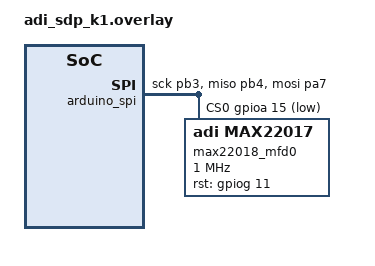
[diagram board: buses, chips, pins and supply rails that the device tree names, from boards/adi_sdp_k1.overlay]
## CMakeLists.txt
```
# SPDX-License-Identifier: Apache-2.0

cmake_minimum_required(VERSION 3.28.0)

find_package(Zephyr REQUIRED HINTS $ENV{ZEPHYR_BASE})
project(DAC)

target_sources(app PRIVATE src/main.c)
```

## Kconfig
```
# Private config options for dac sample

# Copyright (c) 2025 NXP
# Copyright (c) 2025 Renesas Electronics Corporation
# SPDX-License-Identifier: Apache-2.0

mainmenu "DAC sample application"

source "Kconfig.zephyr"

ZEPHYR_USER := zephyr,user

config DAC_SAMPLE_RUN
	bool "Run DAC sample application"
	default y if $(dt_node_has_prop,/$(ZEPHYR_USER),dac)
	help
	  platform supports dac sample

config DAC_BUFFER_NOT_SUPPORT
	bool "DAC on board/SoC does not support output buffer mode"
	help
	  If this config is turned on, the sample will run with no output buffer enabled
```

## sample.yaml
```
sample:
  name: DAC driver sample
common:
  tags: DAC
  harness: console
  harness_config:
    type: one_line
    regex:
      - Generating sawtooth signal at DAC channel ([0-9]*).
tests:
  sample.drivers.dac:
    depends_on: dac
    filter: CONFIG_DAC_SAMPLE_RUN and not dt_alias_exists("second_uart")
    integration_platforms:
      - nucleo_l152re
  sample.drivers.dac.shields:
    platform_allow:
      - adafruit_feather_rp2040/rp2040
      - adafruit_feather_adalogger_rp2040/rp2040
    extra_args:
      - platform:adafruit_feather_rp2040/rp2040:SHIELD="adafruit_ad5693r"
      - platform:adafruit_feather_adalogger_rp2040/rp2040:SHIELD="adafruit_mcp4728"
  samples.dac.sec_uart:
    tags: DAC
    depends_on: dac
    filter: CONFIG_DAC_SAMPLE_RUN and dt_alias_exists("second_uart")
    integration_platforms:
      - frdm_mcxa266
      - frdm_mcxa346
      - frdm_mcxa366
```

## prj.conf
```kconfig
CONFIG_DAC=y
```

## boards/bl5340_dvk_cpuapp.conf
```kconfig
#
# Copyright (c) 2021 Laird Connectivity
#
# SPDX-License-Identifier: Apache-2.0
#
CONFIG_I2C=y
CONFIG_DAC_MCP4725=y
```

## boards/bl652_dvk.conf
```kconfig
#
# Copyright (c) 2021 Laird Connectivity
#
# SPDX-License-Identifier: Apache-2.0
#
CONFIG_DAC_MCP4725=y
```

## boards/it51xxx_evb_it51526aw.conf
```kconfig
# Copyright (c) 2026 ITE Corporation. All Rights Reserved.
# SPDX-License-Identifier: Apache-2.0

CONFIG_DAC_BUFFER_NOT_SUPPORT=y
```

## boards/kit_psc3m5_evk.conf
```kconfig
# SPDX-FileCopyrightText: Copyright (c) 2026 Infineon Technologies AG,
# SPDX-FileCopyrightText: or an affiliate of Infineon Technologies AG. All rights reserved.
#
# SPDX-License-Identifier: Apache-2.0

# The CSG slice DAC only supports direct-write mode.
CONFIG_DAC_BUFFER_NOT_SUPPORT=y
```

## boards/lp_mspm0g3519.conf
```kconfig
CONFIG_DAC_SAMPLE_SLEEP_MS=0
```

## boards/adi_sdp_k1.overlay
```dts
/ {
	zephyr,user {
		dac = <&max22017_dac0>;
		dac-channel-id = <0>;
		dac-resolution = <16>;
	};
};

&arduino_spi {
	status = "okay";
	pinctrl-names = "default";
	pinctrl-0 = <&spi1_sck_pb3 &spi1_miso_pb4 &spi1_mosi_pa7>;
	cs-gpios = <&gpioa 15 (GPIO_ACTIVE_LOW | GPIO_PULL_UP)>;

	max22018_mfd0: max22017_mfd@0 {
		compatible = "adi,max22017";
		spi-max-frequency = <1000000>;
		reg = <0>;
		rst-gpios = <&gpiog 11 GPIO_ACTIVE_HIGH>;
		crc-mode;
		status = "okay";

		max22017_dac0: max22017-dac {
			compatible = "adi,max22017-dac";
			#io-channel-cells = <2>;
			status = "okay";
		};
	};
};
```

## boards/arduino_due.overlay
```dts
/*
 * SPDX-FileCopyrightText: Copyright The Zephyr Project Contributors
 * SPDX-License-Identifier: Apache-2.0
 */

/ {
	zephyr,user {
		dac = <&dacc>;
		dac-channel-id = <0>;
		dac-resolution = <12>;
	};
};
```

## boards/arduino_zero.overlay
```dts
/ {
	zephyr,user {
		dac = <&dac0>;
		dac-channel-id = <0>;
		dac-resolution = <10>;
	};
};
```

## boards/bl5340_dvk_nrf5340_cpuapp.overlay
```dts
/ {
	zephyr,user {
		dac = <&dac0>;
		dac-channel-id = <0>;
		dac-resolution = <12>;
	};
};
```

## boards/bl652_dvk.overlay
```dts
/*
 * Copyright 2021 Laird Connectivity
 *
 * SPDX-License-Identifier: Apache-2.0
 */

&i2c0 {
	dac0: mcp4725@60 {
		compatible = "microchip,mcp4725";
		reg = <0x60>;
		label = "MCP4725";
		#io-channel-cells = <1>;
	};
};
```

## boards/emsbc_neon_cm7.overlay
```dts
/*
 * Copyright (c) 2026 emtrion GmbH
 *
 * SPDX-License-Identifier: Apache-2.0
 */

/ {
	zephyr,user {
		dac = <&dac1>;
		dac-channel-id = <1>;
		dac-resolution = <12>;
	};
};
```

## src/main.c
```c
/*
 * Copyright (c) 2020 Libre Solar Technologies GmbH
 *
 * SPDX-License-Identifier: Apache-2.0
 */

#include <zephyr/kernel.h>
#include <zephyr/sys/printk.h>
#include <zephyr/drivers/dac.h>

#define ZEPHYR_USER_NODE DT_PATH(zephyr_user)

#if (DT_NODE_HAS_PROP(ZEPHYR_USER_NODE, dac) && \
	DT_NODE_HAS_PROP(ZEPHYR_USER_NODE, dac_channel_id) && \
	DT_NODE_HAS_PROP(ZEPHYR_USER_NODE, dac_resolution))
#define DAC_NODE DT_PHANDLE(ZEPHYR_USER_NODE, dac)
#define DAC_CHANNEL_ID DT_PROP(ZEPHYR_USER_NODE, dac_channel_id)
#define DAC_RESOLUTION DT_PROP(ZEPHYR_USER_NODE, dac_resolution)
#else
#error "Unsupported board: see README and check /zephyr,user node"
#define DAC_NODE DT_INVALID_NODE
#define DAC_CHANNEL_ID 0
#define DAC_RESOLUTION 0
#endif

static const struct device *const dac_dev = DEVICE_DT_GET(DAC_NODE);

static const struct dac_channel_cfg dac_ch_cfg = {
	.channel_id  = DAC_CHANNEL_ID,
	.resolution  = DAC_RESOLUTION,
#if defined(CONFIG_DAC_BUFFER_NOT_SUPPORT)
	.buffered = false,
#else
	.buffered = true,
#endif /* CONFIG_DAC_BUFFER_NOT_SUPPORT */
};

int main(void)
{
	if (!device_is_ready(dac_dev)) {
		printk("DAC device %s is not ready\n", dac_dev->name);
		return 0;
	}

	int ret = dac_channel_setup(dac_dev, &dac_ch_cfg);

	if (ret != 0) {
		printk("Setting up of DAC channel failed with code %d\n", ret);
		return 0;
	}

	printk("Generating sawtooth signal at DAC channel %d.\n",
		DAC_CHANNEL_ID);
	while (1) {
		/* Number of valid DAC values, e.g. 4096 for 12-bit DAC */
		const int dac_values = 1U << DAC_RESOLUTION;

		for (int i = 0; i < dac_values; i++) {
			ret = dac_write_value(dac_dev, DAC_CHANNEL_ID, i);
			if (ret != 0) {
				printk("dac_write_value() failed with code %d\n", ret);
				return 0;
			}
#if CONFIG_DAC_SAMPLE_SLEEP_MS == -1
			/*
			 * 1 msec sleep leads to about 4 sec signal period for 12-bit
			 * DACs. For DACs with lower resolution, sleep time needs to
			 * be increased.
			 * Make sure to sleep at least 1 msec even for future 16-bit
			 * DACs (lowering signal frequency).
			 */
			const int sleep_time = 4096 / dac_values > 0 ?
				4096 / dac_values : 1;
			k_sleep(K_MSEC(sleep_time));
#elif CONFIG_DAC_SAMPLE_SLEEP_MS > 0
			k_sleep(K_MSEC(CONFIG_DAC_SAMPLE_SLEEP_MS));
#endif
		}
	}
	return 0;
}
```
